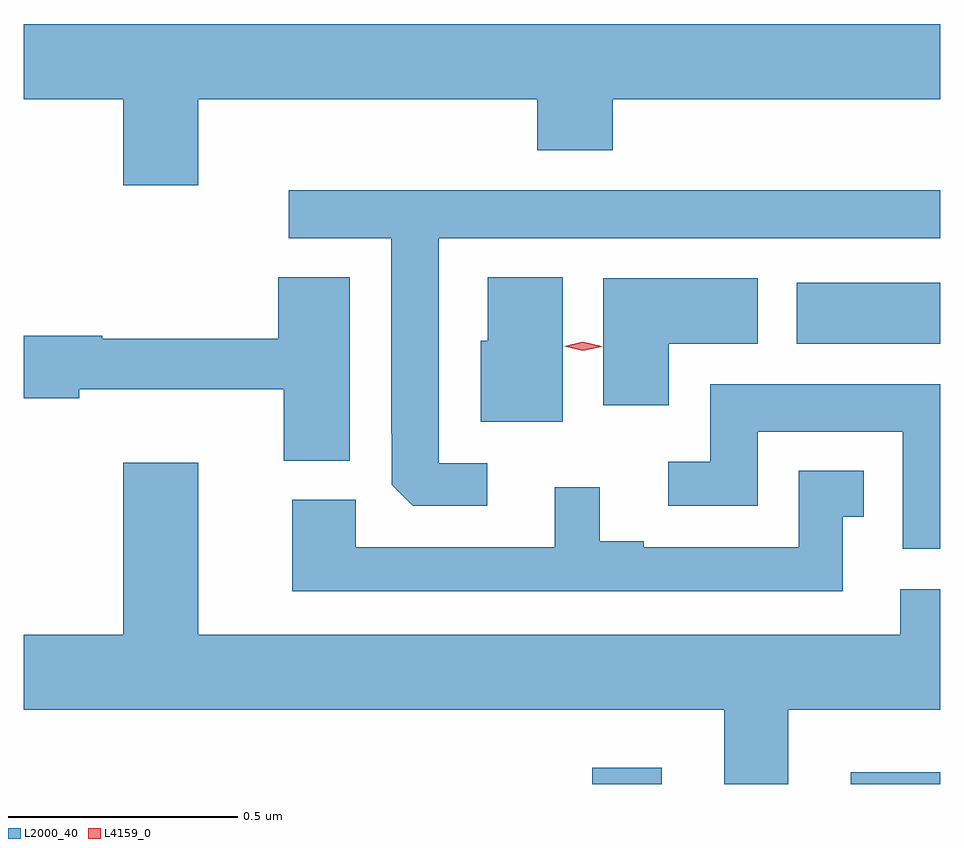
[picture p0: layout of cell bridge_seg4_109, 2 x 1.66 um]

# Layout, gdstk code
import gdstk
lib = gdstk.Library(unit=1e-6, precision=1e-09)
def R(c, l, rs):  # rectangles x0, y0, x1, y1
    for r in rs: c.add(gdstk.rectangle(r[:2], r[2:], *l))
def P(c, l, *ps):  # polygons
    for p in ps: c.add(gdstk.Polygon(p, *l))
L2000_40 = (2000, 40)
L4159_0 = (4159, 0)

bridge_seg4_109 = lib.new_cell('bridge_seg4_109')
R(bridge_seg4_109, L2000_40, [(549.647,762.026,549.799,762.061), (550.211,762.026,550.407,762.052), (550.094,762.986,550.407,763.12)])
P(bridge_seg4_109, L2000_40, [(548.788,763.52),(549.527,763.52),(549.527,763.409),(549.692,763.409),(549.692,763.52),(550.407,763.52),(550.407,763.684),(548.407,763.684),(548.407,763.52),(548.624,763.52),(548.624,763.332),(548.788,763.332)],
  [(549.418,762.726),(549.313,762.726),(549.313,763.217),(550.407,763.217),(550.407,763.321),(548.985,763.321),(548.985,763.217),(549.209,763.217),(549.209,762.79),(549.21,762.79),(549.21,762.679),(549.256,762.633),(549.418,762.633)],
  [(549.118,763.132),(548.963,763.132),(548.963,762.997),(548.579,762.997),(548.579,763.004),(548.407,763.004),(548.407,762.868),(548.528,762.868),(548.528,762.887),(548.975,762.887),(548.975,762.731),(549.118,762.731)],
  [(549.583,763.132),(549.419,763.132),(549.419,762.993),(549.404,762.993),(549.404,762.816),(549.583,762.816)],
  [(549.814,762.986),(550.009,762.986),(550.009,763.129),(549.671,763.129),(549.671,762.852),(549.814,762.852)],
  [(550.407,762.898),(549.905,762.898),(549.905,762.729),(549.813,762.729),(549.813,762.633),(550.009,762.633),(550.009,762.794),(550.325,762.794),(550.325,762.539),(550.407,762.539)],
  [(550.075,762.188),(550.407,762.188),(550.407,762.451),(550.319,762.451),(550.319,762.352),(548.788,762.352),(548.788,762.727),(548.624,762.727),(548.624,762.352),(548.407,762.352),(548.407,762.188),(549.935,762.188),(549.935,762.026),(550.075,762.026)],
  [(550.194,762.609),(550.24,762.609),(550.24,762.709),(550.098,762.709),(550.098,762.543),(549.76,762.543),(549.76,762.556),(549.664,762.556),(549.664,762.673),(549.566,762.673),(549.566,762.543),(549.132,762.543),(549.132,762.646),(548.993,762.646),(548.993,762.447),(550.194,762.447)])
P(bridge_seg4_109, L4159_0, [(549.627,762.971),(549.586,762.981),(549.586,762.981),(549.586,762.981),(549.627,762.991),(549.668,762.981),(549.668,762.98),(549.668,762.98)])

lib.write_gds('bridge_seg4_109.gds')
